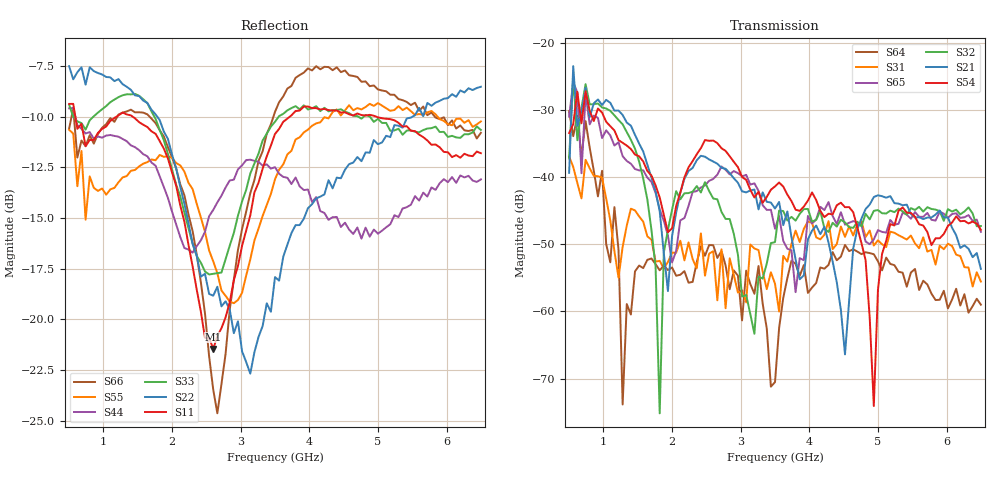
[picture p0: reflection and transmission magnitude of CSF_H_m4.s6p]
!Keysight Technologies,M9804A,MY58100912,A.14.10.03
!Date: Thursday, April 27, 2023 10:28:33
!Correction: S11(C  6-Port  )
!S12(C  6-Port  )
!S13(C  6-Port  )
!S14(C  6-Port  )
!S15(C  6-Port  )
!S16(C  6-Port  )
!S21(C  6-Port  )
!S22(C  6-Port  )
!S23(C  6-Port  )
!S24(C  6-Port  )
!S25(C  6-Port  )
!S26(C  6-Port  )
!S31(C  6-Port  )
!S32(C  6-Port  )
!S33(C  6-Port  )
!S34(C  6-Port  )
!S35(C  6-Port  )
!S36(C  6-Port  )
!S41(C  6-Port  )
!S42(C  6-Port  )
!S43(C  6-Port  )
!S44(C  6-Port  )
!S45(C  6-Port  )
!S46(C  6-Port  )
!S51(C  6-Port  )
!S52(C  6-Port  )
!S53(C  6-Port  )
!S54(C  6-Port  )
!S55(C  6-Port  )
!S56(C  6-Port  )
!S61(C  6-Port  )
!S62(C  6-Port  )
!S63(C  6-Port  )
!S64(C  6-Port  )
!S65(C  6-Port  )
!S66(C  6-Port  )
!S6P File: Measurement: :
# Hz S  RI  R 50
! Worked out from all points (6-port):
!   101 points, 500 MHz to 6.5 GHz, reference 50 ohm
!   strongest paths, dB at 500 MHz, 2 GHz, 3.5 GHz, 5 GHz, 6.5 GHz:
!     S54: -33.4, -47.6, -41.4, -56.8, -47.8
!     S21: -39.4, -48.8, -44.7, -42.7, -53.7
!     S32: -37.2, -44.9, -49.7, -44.9, -47.3
!     S65: -31.0, -52.7, -47.7, -47.9, -48.2
!     S31: -36.9, -51.2, -55.9, -49.4, -55.6
!     S64: -30.2, -53.5, -70.5, -52.5, -59.0
!   lowest |S11| = -21.5 dB at 2.6 GHz (marker M1), VSWR 1.18, Z = 42.5 + j2.21 ohm
!   |S11| at or under -10 dB: 590.9 MHz to 1.187 GHz (596.5 MHz wide, 67.1 % of centre); 1.428 GHz to 3.714 GHz (2.286 GHz wide, 88.9 % of centre); 4.978 GHz to end of sweep
